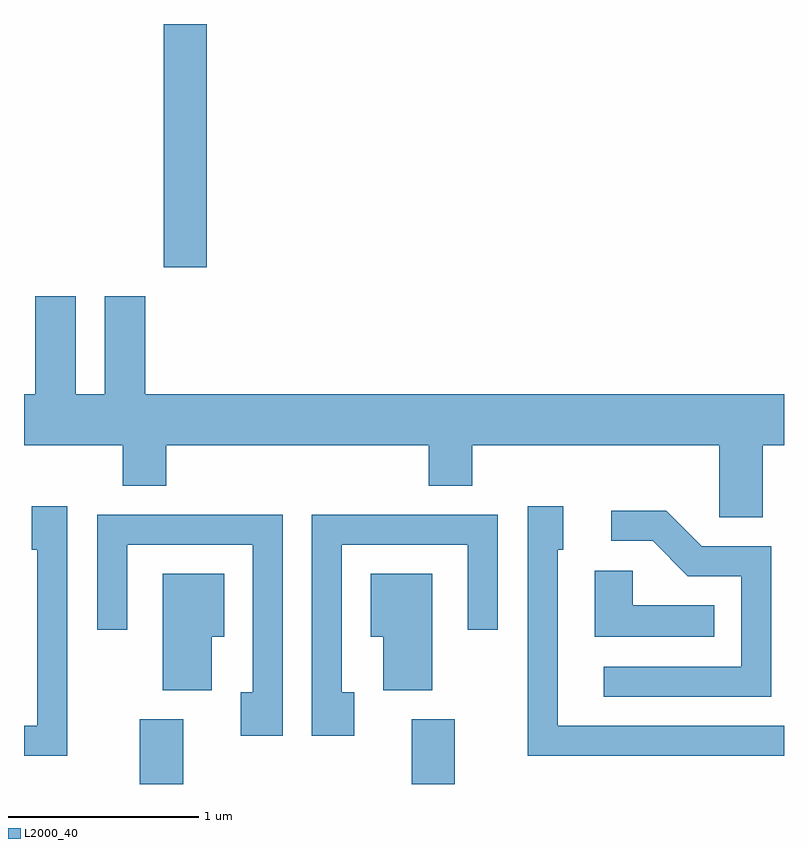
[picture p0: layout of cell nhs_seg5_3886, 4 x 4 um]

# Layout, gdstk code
import gdstk
lib = gdstk.Library(unit=1e-6, precision=1e-09)
def R(c, l, rs):  # rectangles x0, y0, x1, y1
    for r in rs: c.add(gdstk.rectangle(r[:2], r[2:], *l))
def P(c, l, *ps):  # polygons
    for p in ps: c.add(gdstk.Polygon(p, *l))
L2000_40 = (2000, 40)

nhs_seg5_3886 = lib.new_cell('nhs_seg5_3886')
R(nhs_seg5_3886, L2000_40, [(300.221,1506.072,300.449,1506.414), (301.651,1506.072,301.879,1506.414), (300.346,1508.791,300.574,1510.072)])
P(nhs_seg5_3886, L2000_40, [(303.499,1507.856),(303.611,1507.856),(303.611,1508.124),(300.249,1508.124),(300.249,1508.639),(300.036,1508.639),(300.036,1508.124),(299.884,1508.124),(299.884,1508.639),(299.671,1508.639),(299.671,1508.124),(299.611,1508.124),(299.611,1507.856),(300.131,1507.856),(300.131,1507.641),(300.359,1507.641),(300.359,1507.856),(301.741,1507.856),(301.741,1507.641),(301.969,1507.641),(301.969,1507.856),(303.271,1507.856),(303.271,1507.476),(303.499,1507.476)],
  [(303.611,1506.379),(302.419,1506.379),(302.419,1507.306),(302.449,1507.306),(302.449,1507.534),(302.261,1507.534),(302.261,1506.221),(303.611,1506.221)],
  [(299.839,1507.534),(299.651,1507.534),(299.651,1507.306),(299.681,1507.306),(299.681,1506.379),(299.611,1506.379),(299.611,1506.221),(299.839,1506.221)],
  [(303.544,1507.324),(303.177,1507.324),(302.992,1507.509),(302.703,1507.509),(302.703,1507.351),(302.919,1507.351),(303.104,1507.166),(303.386,1507.166),(303.386,1506.689),(302.663,1506.689),(302.663,1506.531),(303.544,1506.531)],
  [(300.974,1507.489),(299.996,1507.489),(299.996,1506.883),(300.154,1506.883),(300.154,1507.331),(300.816,1507.331),(300.816,1506.554),(300.751,1506.554),(300.751,1506.326),(300.974,1506.326)],
  [(301.349,1506.554),(301.284,1506.554),(301.284,1507.331),(301.946,1507.331),(301.946,1506.883),(302.104,1506.883),(302.104,1507.489),(301.126,1507.489),(301.126,1506.326),(301.349,1506.326)],
  [(303.243,1507.014),(302.814,1507.014),(302.814,1507.194),(302.616,1507.194),(302.616,1506.846),(303.243,1506.846)],
  [(301.759,1507.179),(301.436,1507.179),(301.436,1506.846),(301.501,1506.846),(301.501,1506.566),(301.759,1506.566)],
  [(300.599,1506.846),(300.664,1506.846),(300.664,1507.179),(300.341,1507.179),(300.341,1506.566),(300.599,1506.566)])

lib.write_gds('nhs_seg5_3886.gds')
